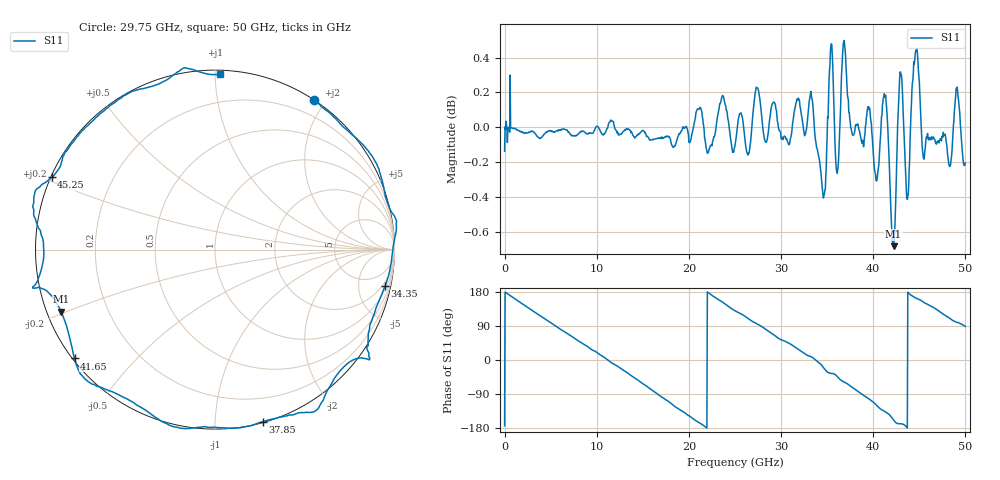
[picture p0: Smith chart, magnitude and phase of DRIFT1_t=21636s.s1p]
!Created with skrf (http://scikit-rf.org).
# Hz S RI R 50.0
!freq ReS11 ImS11
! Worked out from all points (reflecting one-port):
!   1001 points, 300 kHz to 50 GHz, reference 50 ohm
!   lowest |S11| = -0.7 dB at 42.2 GHz (marker M1), VSWR 25.45, Z = 2.04 - j9.69 ohm
!   phase of S11 starts at -174 deg and turns -818 deg over the sweep
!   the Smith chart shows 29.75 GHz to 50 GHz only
!   S11 on the Smith chart (normalised r, x): 29.75 GHz: 0.00, +1.86; 34.35 GHz: 1.38, -9.17; 37.85 GHz: 0.01, -1.32; 41.65 GHz: 0.01, -0.34; 45.25 GHz: 0.00, +0.21; 50 GHz: 0.02, +1.03
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300000  -0.9783 -0.1086
1.500291e9  -0.9059 0.4184
3.25028e9  -0.5918 0.8016
6.250262e9  0.2019 0.9781
9.450243e9  0.8863 0.4543
1.250022e10  0.9317 -0.3494
1.580021e10  0.2371 -0.9628
1.74002e10  -0.2232 -0.9684
1.875019e10  -0.5983 -0.7924
2.150017e10  -0.9943 -0.1515
2.350016e10  -0.9237 0.4285
2.500015e10  -0.6329 0.7586
2.740014e10  -0.0945 1.022
2.975012e10  0.5509 0.8332
3.125011e10  0.7876 0.6202
3.31501e10  1.006 0.1731
3.435009e10  0.947 -0.2045
3.520009e10  0.857 -0.5746
3.750008e10  0.3708 -0.9326
3.785007e10  0.2682 -0.9579
3.960006e10  -0.2377 -0.9847
4.165005e10  -0.7827 -0.6063
4.220005e10  -0.8573 -0.3457
4.290004e10  -1.014 -0.2144
4.375004e10  -0.9555 0.0142
4.525003e10  -0.9099 0.4025
4.770001e10  -0.4867 0.8677
5e10  0.0252 0.9763
